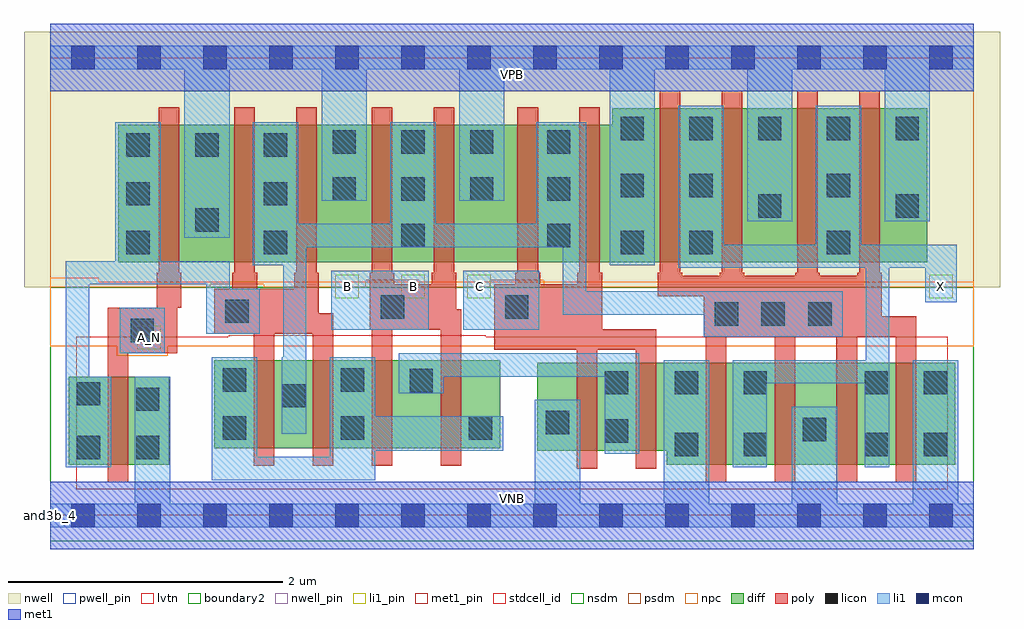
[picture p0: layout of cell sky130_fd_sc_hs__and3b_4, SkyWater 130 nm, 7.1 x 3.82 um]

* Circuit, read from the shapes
.subckt sky130_fd_sc_hs__and3b_4 A_N B C VGND VNB VPB VPWR X
XM1 VGND A_N n1 VNB sky130_fd_pr__nfet_01v8_lvt w=0.64 l=0.15
XM2 n2 n1 n3 VNB sky130_fd_pr__nfet_01v8_lvt w=0.64 l=0.15 m=2
XM3 n4 B n3 VNB sky130_fd_pr__nfet_01v8_lvt w=0.64 l=0.15 m=2
XM4 n4 C VGND VNB sky130_fd_pr__nfet_01v8_lvt w=0.64 l=0.15 m=2
XM5 X n2 VGND VNB sky130_fd_pr__nfet_01v8_lvt w=0.74 l=0.15 m=4
XM6 VPWR A_N n1 VPB sky130_fd_pr__pfet_01v8 w=1 l=0.15
XM7 n2 n1 VPWR VPB sky130_fd_pr__pfet_01v8 w=1 l=0.15 m=2
XM8 n2 B VPWR VPB sky130_fd_pr__pfet_01v8 w=1 l=0.15 m=2
XM9 n2 C VPWR VPB sky130_fd_pr__pfet_01v8 w=1 l=0.15 m=2
XM10 X n2 VPWR VPB sky130_fd_pr__pfet_01v8 w=1.12 l=0.15 m=4
.ends

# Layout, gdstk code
import gdstk
lib = gdstk.Library(unit=1e-6, precision=1e-09)
def R(c, l, rs):  # rectangles x0, y0, x1, y1
    for r in rs: c.add(gdstk.rectangle(r[:2], r[2:], *l))
def A(c, l, x, y, w, h, nx, ny, dx, dy):  # array of equal rectangles
    R(c, l, [(x+i*dx, y+j*dy, x+i*dx+w, y+j*dy+h) for i in range(nx) for j in range(ny)])
def P(c, l, *ps):  # polygons
    for p in ps: c.add(gdstk.Polygon(p, *l))
nwell_pin = (64, 16)
nwell = (64, 20)
diff = (65, 20)
poly = (66, 20)
licon = (66, 44)
li1_pin = (67, 16)
li1 = (67, 20)
mcon = (67, 44)
met1_pin = (68, 16)
met1 = (68, 20)
stdcell_id = (81, 4)
nsdm = (93, 44)
psdm = (94, 20)
npc = (95, 20)
pwell_pin = (122, 16)
lvtn = (125, 44)
boundary2 = (236, 0)

sky130_fd_sc_hs__and3b_4 = lib.new_cell('sky130_fd_sc_hs__and3b_4')
R(sky130_fd_sc_hs__and3b_4, nwell_pin, [(0,3.085,6.72,3.33)])
R(sky130_fd_sc_hs__and3b_4, nwell, [(-0.19,1.66,6.91,3.52)])
R(sky130_fd_sc_hs__and3b_4, diff, [(0.135,0.37,0.865,1.01), (1.195,0.49,3.275,1.13)])
P(sky130_fd_sc_hs__and3b_4, diff, [(6.38,2.96),(4.09,2.96),(4.09,2.84),(0.495,2.84),(0.495,1.84),(6.38,1.84)],
  [(6.585,1.11),(3.545,1.11),(3.545,0.47),(4.485,0.47),(4.485,0.37),(6.585,0.37)])
P(sky130_fd_sc_hs__and3b_4, poly, [(0.955,1.765),(0.94,1.765),(0.94,2.97),(0.79,2.97),(0.79,1.765),(0.775,1.765),(0.775,1.51),(0.42,1.51),(0.42,0.24),(0.57,0.24),(0.57,1.18),(0.925,1.18),(0.925,1.51),(0.955,1.51)],
  [(2.06,1.47),(1.955,1.47),(1.955,1.765),(1.94,1.765),(1.94,2.97),(1.79,2.97),(1.79,1.765),(1.775,1.765),(1.775,1.65),(1.505,1.65),(1.505,1.765),(1.49,1.765),(1.49,2.97),(1.34,2.97),(1.34,1.765),(1.325,1.765),(1.325,1.65),(1.195,1.65),(1.195,1.32),(1.48,1.32),(1.48,0.36),(1.63,0.36),(1.63,1.32),(1.91,1.32),(1.91,0.36),(2.06,0.36)],
  [(6.3,1.45),(6.05,1.45),(6.05,1.765),(6.035,1.765),(6.035,3.09),(5.885,3.09),(5.885,1.765),(5.87,1.765),(5.87,1.745),(5.6,1.745),(5.6,1.765),(5.585,1.765),(5.585,3.09),(5.435,3.09),(5.435,1.765),(5.42,1.765),(5.42,1.745),(5.05,1.745),(5.05,1.765),(5.035,1.765),(5.035,3.09),(4.885,3.09),(4.885,1.765),(4.87,1.765),(4.87,1.745),(4.6,1.745),(4.6,1.765),(4.585,1.765),(4.585,3.09),(4.435,3.09),(4.435,1.765),(4.42,1.765),(4.42,1.595),(4.755,1.595),(4.755,1.3),(4.77,1.3),(4.77,0.24),(4.92,0.24),(4.92,1.3),(5.27,1.3),(5.27,0.24),(5.42,0.24),(5.42,1.3),(5.72,1.3),(5.72,0.24),(5.87,0.24),(5.87,1.3),(6.15,1.3),(6.15,0.24),(6.3,0.24)],
  [(4.41,1.355),(4.015,1.355),(4.015,1.765),(4,1.765),(4,2.97),(3.85,2.97),(3.85,1.765),(3.835,1.765),(3.835,1.68),(3.565,1.68),(3.565,1.765),(3.55,1.765),(3.55,2.97),(3.4,2.97),(3.4,1.765),(3.385,1.765),(3.385,1.68),(3.23,1.68),(3.23,1.205),(3.83,1.205),(3.83,0.34),(3.98,0.34),(3.98,1.205),(4.26,1.205),(4.26,0.34),(4.41,0.34)],
  [(2.99,1.5),(2.955,1.5),(2.955,1.765),(2.94,1.765),(2.94,2.97),(2.79,2.97),(2.79,1.765),(2.775,1.765),(2.775,1.68),(2.505,1.68),(2.505,1.765),(2.49,1.765),(2.49,2.97),(2.34,2.97),(2.34,1.765),(2.325,1.765),(2.325,1.35),(2.34,1.35),(2.34,0.36),(2.49,0.36),(2.49,1.35),(2.84,1.35),(2.84,0.36),(2.99,0.36)])
A(sky130_fd_sc_hs__and3b_4, licon, 4.835, 1.38, 0.17, 0.17, 3, 1, 0.34, 0)
A(sky130_fd_sc_hs__and3b_4, licon, 3.615, 1.95, 0.17, 0.17, 1, 3, 0, 0.34)
A(sky130_fd_sc_hs__and3b_4, licon, 2.055, 2.29, 0.17, 0.17, 3, 2, 0.5, 0.34)
A(sky130_fd_sc_hs__and3b_4, licon, 0.555, 2.61, 0.17, 0.17, 3, 1, 0.5, 0)
A(sky130_fd_sc_hs__and3b_4, licon, 4.15, 2.73, 0.17, 0.17, 5, 1, 0.5, 0)
R(sky130_fd_sc_hs__and3b_4, licon, [(0.195,0.41,0.365,0.58), (0.625,0.41,0.795,0.58), (4.545,0.43,4.715,0.6), (5.045,0.43,5.215,0.6), (5.925,0.43,6.095,0.6), (6.355,0.43,6.525,0.6), (4.035,0.53,4.205,0.7), (5.475,0.54,5.645,0.71), (1.255,0.55,1.425,0.72), (2.115,0.55,2.285,0.72), (3.045,0.55,3.215,0.72), (3.605,0.59,3.775,0.76), (0.625,0.76,0.795,0.93), (1.685,0.785,1.855,0.955), (0.195,0.8,0.365,0.97), (4.035,0.88,4.205,1.05), (4.545,0.88,4.715,1.05), (5.045,0.88,5.215,1.05), (5.925,0.88,6.095,1.05), (6.355,0.88,6.525,1.05), (2.615,0.895,2.785,1.065), (1.255,0.9,1.425,1.07), (2.115,0.9,2.285,1.07), (0.585,1.26,0.755,1.43), (1.275,1.4,1.445,1.57), (2.405,1.43,2.575,1.6), (3.31,1.43,3.48,1.6), (0.555,1.9,0.725,2.07), (1.555,1.9,1.725,2.07), (4.15,1.9,4.32,2.07), (4.65,1.9,4.82,2.07), (5.65,1.9,5.82,2.07), (2.555,1.95,2.725,2.12), (1.055,2.065,1.225,2.235), (5.15,2.165,5.32,2.335), (6.15,2.165,6.32,2.335), (0.555,2.255,0.725,2.425), (1.555,2.255,1.725,2.425), (4.15,2.315,4.32,2.485), (4.65,2.315,4.82,2.485), (5.65,2.315,5.82,2.485)])
A(sky130_fd_sc_hs__and3b_4, li1_pin, 2.075, 1.58, 0.17, 0.17, 3, 1, 0.48, 0)
R(sky130_fd_sc_hs__and3b_4, li1_pin, [(0.635,1.21,0.805,1.38), (6.395,1.58,6.565,1.75)])
R(sky130_fd_sc_hs__and3b_4, li1, [(0.505,1.18,0.835,1.51), (2.045,1.35,2.755,1.78), (3.005,1.35,3.56,1.78)])
P(sky130_fd_sc_hs__and3b_4, li1, [(0,-0.085),(0,0.085),(0.615,0.085),(0.615,1.01),(0.875,1.01),(0.875,0.085),(3.525,0.085),(3.525,0.84),(3.855,0.84),(3.855,0.085),(4.465,0.085),(4.465,1.13),(4.795,1.13),(4.795,0.085),(5.395,0.085),(5.395,0.79),(5.725,0.79),(5.725,0.085),(6.275,0.085),(6.275,1.13),(6.605,1.13),(6.605,0.085),(6.72,0.085),(6.72,-0.085)],
  [(0,3.245),(0,3.415),(6.72,3.415),(6.72,3.245),(6.4,3.245),(6.4,2.14),(6.07,2.14),(6.07,3.245),(5.4,3.245),(5.4,2.14),(5.07,2.14),(5.07,3.245),(4.4,3.245),(4.4,1.82),(4.07,1.82),(4.07,3.245),(3.305,3.245),(3.305,2.29),(2.975,2.29),(2.975,3.245),(2.305,3.245),(2.305,2.29),(1.975,2.29),(1.975,3.245),(1.305,3.245),(1.305,2.02),(0.975,2.02),(0.975,3.245)],
  [(6.365,1.8),(6.105,1.8),(6.105,0.35),(5.925,0.35),(5.925,0.96),(5.215,0.96),(5.215,0.35),(4.965,0.35),(4.965,1.13),(5.935,1.13),(5.935,1.8),(4.57,1.8),(4.57,2.98),(4.9,2.98),(4.9,1.97),(5.57,1.97),(5.57,2.98),(5.9,2.98),(5.9,1.97),(6.595,1.97),(6.595,1.55),(6.365,1.55)],
  [(1.805,2.12),(2.475,2.12),(2.475,2.86),(2.805,2.86),(2.805,2.12),(3.535,2.12),(3.535,2.86),(3.9,2.86),(3.9,1.63),(5.765,1.63),(5.765,1.3),(4.755,1.3),(4.755,1.46),(3.73,1.46),(3.73,1.95),(1.865,1.95),(1.865,0.595),(1.685,0.595),(1.685,1.15),(1.695,1.15),(1.695,1.82),(1.475,1.82),(1.475,2.86),(1.805,2.86)],
  [(0.115,1.85),(0.475,1.85),(0.475,2.86),(0.805,2.86),(0.805,1.85),(1.305,1.85),(1.305,1.65),(1.525,1.65),(1.525,1.32),(1.135,1.32),(1.135,1.68),(0.285,1.68),(0.285,1.01),(0.445,1.01),(0.445,0.35),(0.115,0.35)],
  [(4.035,1.01),(2.865,1.01),(2.865,0.89),(2.535,0.89),(2.535,1.18),(4.285,1.18),(4.285,0.45),(4.035,0.45)],
  [(1.505,0.425),(2.035,0.425),(2.035,1.15),(2.365,1.15),(2.365,0.72),(3.295,0.72),(3.295,0.47),(2.365,0.47),(2.365,0.255),(1.175,0.255),(1.175,1.15),(1.505,1.15)])
A(sky130_fd_sc_hs__and3b_4, mcon, 0.155, -0.085, 0.17, 0.17, 14, 2, 0.48, 3.33)
R(sky130_fd_sc_hs__and3b_4, met1_pin, [(0,0,6.72,0.245), (0,3.085,6.72,3.33)])
R(sky130_fd_sc_hs__and3b_4, met1, [(0,-0.245,6.72,0.245), (0,3.085,6.72,3.575)])
R(sky130_fd_sc_hs__and3b_4, stdcell_id, [(0,0,6.72,3.33)])
R(sky130_fd_sc_hs__and3b_4, nsdm, [(0,-0.19,6.72,1.66)])
P(sky130_fd_sc_hs__and3b_4, psdm, [(6.72,3.52),(0,3.52),(0,1.66),(1.165,1.66),(1.165,1.68),(1.555,1.68),(1.555,1.66),(2.295,1.66),(2.295,1.71),(2.685,1.71),(2.685,1.66),(3.2,1.66),(3.2,1.71),(3.59,1.71),(3.59,1.66),(6.72,1.66)])
P(sky130_fd_sc_hs__and3b_4, npc, [(6.72,1.7),(0.355,1.7),(0.355,1.73),(0,1.73),(0,1.23),(0.485,1.23),(0.485,1.16),(0.855,1.16),(0.855,1.23),(6.72,1.23)])
R(sky130_fd_sc_hs__and3b_4, pwell_pin, [(0,0,6.72,0.245)])
P(sky130_fd_sc_hs__and3b_4, lvtn, [(6.53,1.3),(3.17,1.3),(3.17,1.31),(1.3,1.31),(1.3,1.3),(0.19,1.3),(0.19,0.19),(6.53,0.19)])
R(sky130_fd_sc_hs__and3b_4, boundary2, [(0,0,6.72,3.33)])
sky130_fd_sc_hs__and3b_4.add(gdstk.Label('and3b_4', (0,0), layer=83, texttype=44))
sky130_fd_sc_hs__and3b_4.add(gdstk.Label('VNB', (3.36,0.123), layer=64, texttype=59))
sky130_fd_sc_hs__and3b_4.add(gdstk.Label('VPB', (3.36,3.208), layer=64, texttype=5))
sky130_fd_sc_hs__and3b_4.add(gdstk.Label('VPWR', (3.36,3.208), layer=68, texttype=5))
sky130_fd_sc_hs__and3b_4.add(gdstk.Label('VGND', (3.36,0.123), layer=68, texttype=5))
sky130_fd_sc_hs__and3b_4.add(gdstk.Label('X', (6.48,1.665), layer=67, texttype=5))
sky130_fd_sc_hs__and3b_4.add(gdstk.Label('B', (2.16,1.665), layer=67, texttype=5))
sky130_fd_sc_hs__and3b_4.add(gdstk.Label('B', (2.64,1.665), layer=67, texttype=5))
sky130_fd_sc_hs__and3b_4.add(gdstk.Label('C', (3.12,1.665), layer=67, texttype=5))
sky130_fd_sc_hs__and3b_4.add(gdstk.Label('A_N', (0.72,1.295), layer=67, texttype=5))

lib.write_gds('sky130_fd_sc_hs__and3b_4.gds')
